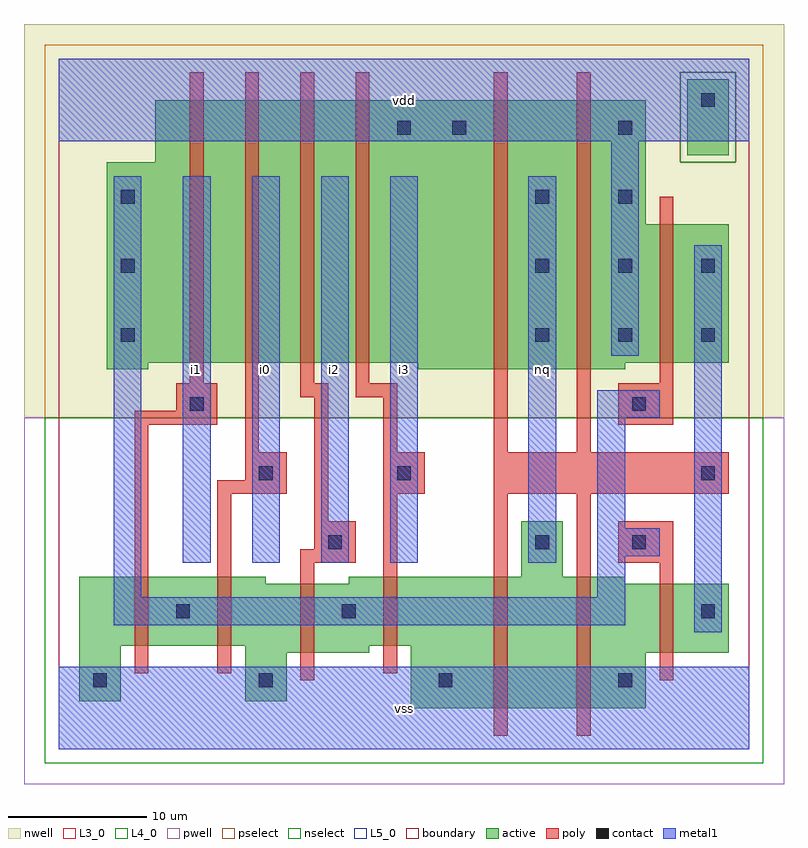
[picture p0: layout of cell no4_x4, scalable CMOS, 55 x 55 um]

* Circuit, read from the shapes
.subckt no4_x4 i0 i1 i2 i3 nq vdd vss
M1 n1 i1 vss VSUBS nfet w=5u l=1u
M2 vss i0 n1 VSUBS nfet w=5u l=1u
M3 n1 i2 vss VSUBS nfet w=5u l=1u
M4 vss i3 n1 VSUBS nfet w=5u l=1u
M5 nq n2 vss VSUBS nfet w=9.5u l=1u m=2
M6 n2 n1 vss VSUBS nfet w=5u l=1u
M7 n3 i1 n1 vdd pfet w=19u l=1u
M8 n4 i0 n3 vdd pfet w=19u l=1u
M9 n5 i2 n4 vdd pfet w=19u l=1u
M10 vdd i3 n5 vdd pfet w=19u l=1u
M11 nq n2 vdd vdd pfet w=19.5u l=1u m=2
M12 n2 n1 vdd vdd pfet w=10u l=1u
.ends

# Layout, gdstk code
import gdstk
lib = gdstk.Library(unit=1e-6, precision=1e-09)
def R(c, l, rs):  # rectangles x0, y0, x1, y1
    for r in rs: c.add(gdstk.rectangle(r[:2], r[2:], *l))
def A(c, l, x, y, w, h, nx, ny, dx, dy):  # array of equal rectangles
    R(c, l, [(x+i*dx, y+j*dy, x+i*dx+w, y+j*dy+h) for i in range(nx) for j in range(ny)])
L3_0 = (3, 0)
L4_0 = (4, 0)
L5_0 = (5, 0)
contact = (25, 0)
pwell = (41, 0)
nwell = (42, 0)
active = (43, 0)
pselect = (44, 0)
nselect = (45, 0)
poly = (46, 0)
metal1 = (49, 0)
boundary = (63, 0)

no4_x4 = lib.new_cell('no4_x4')
R(no4_x4, L3_0, [(25.5,3,42.5,7), (1.5,3.5,4.5,7.5), (13.5,3.5,16.5,7), (13.5,7,22.5,7.5), (25.5,7,48.5,7.5), (1.5,7.5,48.5,12), (1.5,12,15,12.5), (21,12,41,12.5), (33.5,12.5,36.5,16.5)])
R(no4_x4, L4_0, [(3.5,27.5,6.5,28), (26,27.5,41,28), (3.5,28,48.5,38), (3.5,38,42.5,42.5), (7,42.5,42.5,47)])
R(no4_x4, L5_0, [(45.5,43,48.5,48.5)])
A(no4_x4, contact, 14.5, 4.5, 1, 1, 3, 1, 13, 0)
A(no4_x4, contact, 4.5, 29.5, 1, 1, 1, 3, 0, 5)
A(no4_x4, contact, 34.5, 29.5, 1, 1, 3, 2, 6, 5)
R(no4_x4, contact, [(2.5,4.5,3.5,5.5), (8.5,9.5,9.5,10.5), (20.5,9.5,21.5,10.5), (46.5,9.5,47.5,10.5), (19.5,14.5,20.5,15.5), (34.5,14.5,35.5,15.5), (41.5,14.5,42.5,15.5), (14.5,19.5,15.5,20.5), (24.5,19.5,25.5,20.5), (46.5,19.5,47.5,20.5), (9.5,24.5,10.5,25.5), (41.5,24.5,42.5,25.5), (34.5,39.5,35.5,40.5), (40.5,39.5,41.5,40.5), (24.5,44.5,25.5,45.5), (28.5,44.5,29.5,45.5), (40.5,44.5,41.5,45.5), (46.5,46.5,47.5,47.5)])
R(no4_x4, pwell, [(-2.5,-2.5,52.5,24)])
R(no4_x4, nwell, [(-2.5,24,52.5,52.5)])
R(no4_x4, active, [(25.5,3,42.5,7), (1.5,3.5,4.5,7.5), (13.5,3.5,16.5,7), (13.5,7,22.5,7.5), (25.5,7,48.5,7.5), (1.5,7.5,48.5,12), (1.5,12,15,12.5), (21,12,41,12.5), (33.5,12.5,36.5,16.5), (3.5,27.5,6.5,28), (26,27.5,41,28), (3.5,28,48.5,38), (3.5,38,42.5,42.5), (7,42.5,42.5,47), (45.5,43,48.5,48.5)])
R(no4_x4, pselect, [(-1,24,51,42.5), (-1,42.5,45,49), (49,42.5,51,49), (-1,49,51,51)])
R(no4_x4, nselect, [(-1,-1,51,24), (45,42.5,49,49)])
R(no4_x4, poly, [(31.5,1,32.5,18.5), (37.5,1,38.5,18.5), (17.5,5,18.5,13.5), (43.5,5,44.5,13.5), (5.5,5.5,6.5,23.5), (11.5,5.5,12.5,18.5), (23.5,5.5,24.5,18.5), (17.5,13.5,21.5,14.5), (40.5,13.5,44.5,16.5), (18.5,14.5,21.5,16.5), (18.5,16.5,19.5,25.5), (11.5,18.5,16.5,19.5), (23.5,18.5,26.5,21.5), (31.5,18.5,48.5,21.5), (13.5,19.5,16.5,21.5), (13.5,21.5,14.5,49), (23.5,21.5,24.5,25.5), (31.5,21.5,32.5,49), (37.5,21.5,38.5,49), (5.5,23.5,11.5,24.5), (40.5,23.5,44.5,26.5), (8.5,24.5,11.5,26.5), (17.5,25.5,19.5,26.5), (21.5,25.5,24.5,26.5), (9.5,26.5,10.5,49), (17.5,26.5,18.5,49), (21.5,26.5,22.5,49), (43.5,26.5,44.5,40)])
R(no4_x4, metal1, [(0,0,50,6), (0,0,50,6), (46,8.5,48,36.5), (46,8.5,48,36.5), (4,9,41,11), (4,9,41,11), (4,11,6,41.5), (4,11,6,41.5), (39,11,41,14), (39,11,41,14), (9,13.5,11,41.5), (9,13.5,11,41.5), (14,13.5,16,41.5), (14,13.5,16,41.5), (19,13.5,21,41.5), (19,13.5,21,41.5), (24,13.5,26,41.5), (24,13.5,26,41.5), (34,13.5,36,41.5), (34,13.5,36,41.5), (39,14,43.5,16), (39,14,43.5,16), (39,16,41,24), (39,16,41,24), (39,24,43.5,26), (39,24,43.5,26), (40,28.5,42,44), (40,28.5,42,44), (0,44,50,50), (0,44,50,50)])
R(no4_x4, boundary, [(0,0,50,50)])
no4_x4.add(gdstk.Label('i1', (10,27.5), layer=49, texttype=0))
no4_x4.add(gdstk.Label('i0', (15,27.5), layer=49, texttype=0))
no4_x4.add(gdstk.Label('i2', (20,27.5), layer=49, texttype=0))
no4_x4.add(gdstk.Label('vss', (25,3), layer=49, texttype=0))
no4_x4.add(gdstk.Label('i3', (25,27.5), layer=49, texttype=0))
no4_x4.add(gdstk.Label('nq', (35,27.5), layer=49, texttype=0))
no4_x4.add(gdstk.Label('vdd', (25,47), layer=49, texttype=0))

lib.write_gds('no4_x4.gds')
